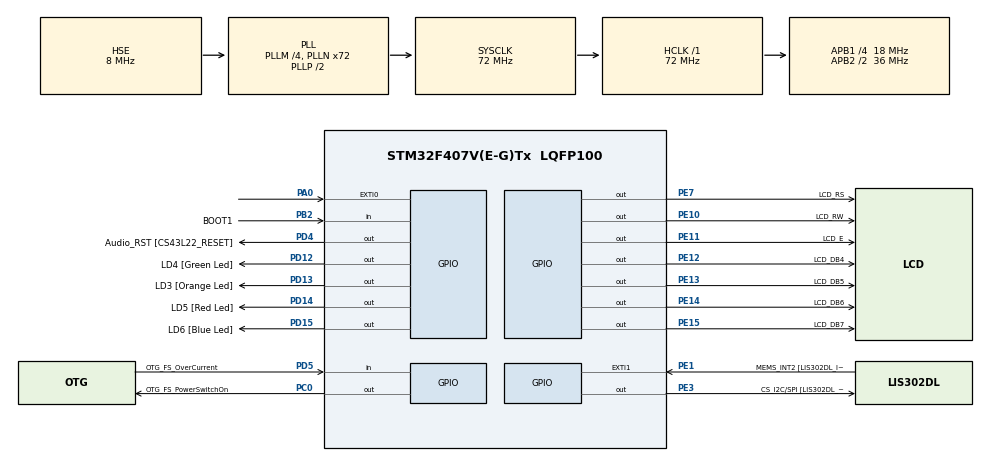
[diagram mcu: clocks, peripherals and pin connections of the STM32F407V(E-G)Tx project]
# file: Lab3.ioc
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Mcu.Family=STM32F4
Mcu.Name=STM32F407V(E-G)Tx
Mcu.Package=LQFP100
NVIC.PriorityGroup=NVIC_PRIORITYGROUP_0
PA0-WKUP.Signal=GPXTI0
PA10.GPIO_Label=OTG_FS_ID
PA10.GPIO_Mode=GPIO_MODE_AF_PP
PA10.GPIO_PuPd=GPIO_NOPULL
PA10.GPIO_Speed=GPIO_SPEED_FREQ_LOW
PA10.Signal=USB_OTG_FS_ID
PA11.GPIO_Label=OTG_FS_DM
PA11.GPIO_Mode=GPIO_MODE_AF_PP
PA11.GPIO_PuPd=GPIO_NOPULL
PA11.GPIO_Speed=GPIO_SPEED_FREQ_LOW
PA11.Signal=USB_OTG_FS_DM
PA12.GPIO_Label=OTG_FS_DP
PA12.GPIO_Mode=GPIO_MODE_AF_PP
PA12.GPIO_PuPd=GPIO_NOPULL
PA12.GPIO_Speed=GPIO_SPEED_FREQ_LOW
PA12.Signal=USB_OTG_FS_DP
PA13.GPIO_Label=SWDIO
PA13.Signal=SYS_JTMS-SWDIO
PA14.GPIO_Label=SWCLK
PA14.Signal=SYS_JTCK-SWCLK
PA4.GPIO_Label=I2S3_WS [CS43L22_LRCK]
PA4.GPIO_Mode=GPIO_MODE_AF_PP
PA4.GPIO_PuPd=GPIO_NOPULL
PA4.GPIO_Speed=GPIO_SPEED_FREQ_LOW
PA4.Signal=I2S3_WS
PA5.GPIO_Label=SPI1_SCK [LIS302DL_SCL/SPC]
PA5.GPIO_Mode=GPIO_MODE_AF_PP
PA5.GPIO_PuPd=GPIO_NOPULL
PA5.GPIO_Speed=GPIO_SPEED_FREQ_LOW
PA5.Signal=SPI1_SCK
PA6.GPIO_Label=SPI1_MISO [LIS302DL_SDO]
PA6.GPIO_Mode=GPIO_MODE_AF_PP
PA6.GPIO_PuPd=GPIO_NOPULL
PA6.GPIO_Speed=GPIO_SPEED_FREQ_LOW
PA6.Signal=SPI1_MISO
PA7.GPIO_Label=SPI1_MOSI [LIS302DL_SDA/SDI/SDO]
PA7.GPIO_Mode=GPIO_MODE_AF_PP
PA7.GPIO_PuPd=GPIO_NOPULL
PA7.GPIO_Speed=GPIO_SPEED_FREQ_LOW
PA7.Signal=SPI1_MOSI
PA9.GPIO_Label=VBUS_FS
PA9.GPIO_Mode=GPIO_MODE_INPUT
PA9.GPIO_PuPd=GPIO_NOPULL
PA9.Signal=USB_OTG_FS_VBUS
PB10.GPIO_Label=CLK_IN [MP45DT02_CLK]
PB10.GPIO_Mode=GPIO_MODE_AF_PP
PB10.GPIO_PuPd=GPIO_NOPULL
PB10.GPIO_Speed=GPIO_SPEED_FREQ_LOW
PB10.Signal=I2S2_CK
PB2.GPIO_Label=BOOT1
PB2.GPIO_Mode=GPIO_MODE_INPUT
PB2.GPIO_PuPd=GPIO_NOPULL
PB2.Signal=GPIO_Input
PB3.GPIO_Label=SWO
PB3.Signal=SYS_JTDO-SWO
PB6.GPIO_Label=Audio_SCL [CS43L22_SCL]
PB6.GPIO_Mode=GPIO_MODE_AF_OD
PB6.GPIO_PuPd=GPIO_NOPULL
PB6.GPIO_Speed=GPIO_SPEED_FREQ_LOW
PB6.Signal=I2C1_SCL
PB9.GPIO_Label=Audio_SDA [CS43L22_SDA]
PB9.GPIO_Mode=GPIO_MODE_AF_OD
PB9.GPIO_PuPd=GPIO_NOPULL
PB9.GPIO_Speed=GPIO_SPEED_FREQ_LOW
PB9.Signal=I2C1_SDA
PC0.GPIO_Label=OTG_FS_PowerSwitchOn
PC0.GPIO_PuPd=GPIO_NOPULL
PC0.GPIO_Speed=GPIO_SPEED_FREQ_LOW
PC0.PinState=GPIO_PIN_SET
PC0.Signal=GPIO_Output
PC10.GPIO_Label=I2S3_SCK [CS43L22_SCLK]
PC10.GPIO_Mode=GPIO_MODE_AF_PP
PC10.GPIO_PuPd=GPIO_NOPULL
PC10.GPIO_Speed=GPIO_SPEED_FREQ_LOW
PC10.Signal=I2S3_CK
PC12.GPIO_Label=I2S3_SD [CS43L22_SDIN]
PC12.GPIO_Mode=GPIO_MODE_AF_PP
PC12.GPIO_PuPd=GPIO_NOPULL
PC12.GPIO_Speed=GPIO_SPEED_FREQ_LOW
PC12.Signal=I2S3_SD
PC14-OSC32_IN.GPIO_Label=PC14-OSC32_IN
PC14-OSC32_IN.Mode=LSE-External-Oscillator
PC14-OSC32_IN.Signal=RCC_OSC32_IN
PC15-OSC32_OUT.GPIO_Label=PC15-OSC32_OUT
PC15-OSC32_OUT.Mode=LSE-External-Oscillator
PC15-OSC32_OUT.Signal=RCC_OSC32_OUT
PC3.GPIO_Label=PDM_OUT [MP45DT02_DOUT]
PC3.GPIO_Mode=GPIO_MODE_AF_PP
PC3.GPIO_PuPd=GPIO_NOPULL
PC3.GPIO_Speed=GPIO_SPEED_FREQ_LOW
PC3.Signal=I2S2_SD
PC7.GPIO_Label=I2S3_MCK [CS43L22_MCLK]
PC7.GPIO_Mode=GPIO_MODE_AF_PP
PC7.GPIO_PuPd=GPIO_NOPULL
PC7.GPIO_Speed=GPIO_SPEED_FREQ_LOW
PC7.Signal=I2S3_MCK
PD12.GPIO_Label=LD4 [Green Led]
PD12.GPIO_PuPd=GPIO_NOPULL
PD12.GPIO_Speed=GPIO_SPEED_FREQ_LOW
PD12.Signal=GPIO_Output
PD13.GPIO_Label=LD3 [Orange Led]
PD13.GPIO_PuPd=GPIO_NOPULL
PD13.GPIO_Speed=GPIO_SPEED_FREQ_LOW
PD13.Signal=GPIO_Output
PD14.GPIO_Label=LD5 [Red Led]
PD14.GPIO_PuPd=GPIO_NOPULL
PD14.GPIO_Speed=GPIO_SPEED_FREQ_LOW
PD14.Signal=GPIO_Output
PD15.GPIO_Label=LD6 [Blue Led]
PD15.GPIO_PuPd=GPIO_NOPULL
PD15.GPIO_Speed=GPIO_SPEED_FREQ_LOW
PD15.Signal=GPIO_Output
PD4.GPIO_Label=Audio_RST [CS43L22_RESET]
PD4.GPIO_PuPd=GPIO_NOPULL
PD4.GPIO_Speed=GPIO_SPEED_FREQ_LOW
PD4.Signal=GPIO_Output
PD5.GPIO_Label=OTG_FS_OverCurrent
PD5.GPIO_Mode=GPIO_MODE_INPUT
PD5.GPIO_PuPd=GPIO_NOPULL
PD5.Signal=GPIO_Input
PE1.GPIO_Label=MEMS_INT2 [LIS302DL_INT2]
PE1.GPIO_ModeDefaultEXTI=GPIO_MODE_EVT_RISING
PE1.GPIO_PuPd=GPIO_NOPULL
PE1.Signal=GPXTI1
PE10.GPIO_Label=LCD_RW
PE10.Signal=GPIO_Output
PE11.GPIO_Label=LCD_E
PE11.Signal=GPIO_Output
PE12.GPIO_Label=LCD_DB4
PE12.Signal=GPIO_Output
PE13.GPIO_Label=LCD_DB5
PE13.Signal=GPIO_Output
PE14.GPIO_Label=LCD_DB6
PE14.Signal=GPIO_Output
PE15.GPIO_Label=LCD_DB7
PE15.Signal=GPIO_Output
PE3.GPIO_Label=CS_I2C/SPI [LIS302DL_CS_I2C/SPI]
PE3.GPIO_PuPd=GPIO_NOPULL
PE3.GPIO_Speed=GPIO_SPEED_FREQ_LOW
PE3.Signal=GPIO_Output
PE7.GPIO_Label=LCD_RS
PE7.Signal=GPIO_Output
PH0-OSC_IN.GPIO_Label=PH0-OSC_IN
PH0-OSC_IN.Mode=HSE-External-Oscillator
PH0-OSC_IN.Signal=RCC_OSC_IN
PH1-OSC_OUT.GPIO_Label=PH1-OSC_OUT
PH1-OSC_OUT.Mode=HSE-External-Oscillator
PH1-OSC_OUT.Signal=RCC_OSC_OUT
ProjectManager.HeapSize=0x200
ProjectManager.StackSize=0x400
ProjectManager.TargetToolchain=STM32CubeIDE
RCC.48MHZClocksFreq_Value=20571428.57142857
RCC.AHBFreq_Value=72000000
RCC.APB1CLKDivider=RCC_HCLK_DIV4
RCC.APB1Freq_Value=18000000
RCC.APB1TimFreq_Value=36000000
RCC.APB2CLKDivider=RCC_HCLK_DIV2
RCC.APB2Freq_Value=36000000
RCC.APB2TimFreq_Value=72000000
RCC.CortexFreq_Value=72000000
RCC.HCLKFreq_Value=72000000
RCC.HSE_VALUE=8000000
RCC.HSI_VALUE=16000000
RCC.PLLM=4
RCC.PLLN=72
RCC.PLLQ=7
RCC.PLLSourceVirtual=RCC_PLLSOURCE_HSE
RCC.SYSCLKFreq_VALUE=72000000
RCC.SYSCLKSource=RCC_SYSCLKSOURCE_PLLCLK
RCC.VCOOutputFreq_Value=144000000
board=STM32F407G-DISC1

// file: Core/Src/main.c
/* USER CODE BEGIN Header */
/**
  ******************************************************************************
  * @file           : main.c
  * @brief          : Main program body
  ******************************************************************************
  * @attention
  *
  * <h2><center>&copy; Copyright (c) 2023 STMicroelectronics.
  * All rights reserved.</center></h2>
  *
  * This software component is licensed by ST under BSD 3-Clause license,
  * the "License"; You may not use this file except in compliance with the
  * License. You may obtain a copy of the License at:
  *                        opensource.org/licenses/BSD-3-Clause
  *
  ******************************************************************************
  */
/* USER CODE END Header */
#include "main.h"
#include "gpio.h"

/* USER CODE BEGIN Includes */
#include "lcd.h"
/* USER CODE END Includes */

/* USER CODE BEGIN PD */
volatile int DIRECTION = 0;
/* USER CODE END PD */

void SystemClock_Config(void);

/* USER CODE BEGIN 0 */
void EXTI0_IRQHandler(void) {
	if(EXTI_GetITStatus(EXTI_Line0) != RESET) EXTI_ClearITPendingBit(EXTI_Line0);
    if (DIRECTION == 0) DIRECTION = 1;
    if (DIRECTION == 1) DIRECTION = 0;
}
/* USER CODE END 0 */

int main(void)
{

  /* MCU Configuration--------------------------------------------------------*/

  /* Reset of all peripherals, Initializes the Flash interface and the Systick. */
  HAL_Init();

  /* Configure the system clock */
  SystemClock_Config();

  /* Initialize all configured peripherals */
  MX_GPIO_Init();
  /* USER CODE BEGIN 2 */
  // ZAD 1
  /*
  LCD_Init();
  LCD_WriteCommand(LCD_CLEAR);
  for (int i = 0; i < 5; i++) {
	  LCD_WriteCommand(LCD_DISPLAY_CURSOR_SHIFT | LCD_SHIFT_RIGHT);
  }
  LCD_WriteText("WI ZUT");
  for (int i = 0; i < 34; i++) {
	  LCD_WriteCommand(LCD_DISPLAY_CURSOR_SHIFT | LCD_SHIFT_RIGHT);
  }
  LCD_WriteText("WI ZUT");*/

  // ZAD 2
  /*
  LCD_Init();
  LCD_WriteCommand(LCD_CLEAR);
  for (int i = 0; i < 5; i++) {
  	  LCD_WriteCommand(LCD_DISPLAY_CURSOR_SHIFT | LCD_SHIFT_RIGHT);
    }
    LCD_WriteText("WI ZUT");
    for (int i = 0; i < 34; i++) {
  	  LCD_WriteCommand(LCD_DISPLAY_CURSOR_SHIFT | LCD_SHIFT_RIGHT);
    }
    LCD_WriteText("WI ZUT");

    for (int i = 0; i < 5; i++) {
    	LCD_WriteCommand(LCD_DISPLAY_CURSOR_SHIFT | LCD_SHIFT_DISPLAY | LCD_SHIFT_RIGHT);
    	for (int i = 0; i < 1000000; i++) {}
    }*/

    // ZAD 3
    LCD_Init();
    LCD_WriteCommand(LCD_CLEAR);
    for (int i = 0; i < 5; i++) {
    	LCD_WriteCommand(LCD_DISPLAY_CURSOR_SHIFT | LCD_SHIFT_RIGHT);
    }
    LCD_WriteText("WI ZUT");
    for (int i = 0; i < 34; i++) {
    	LCD_WriteCommand(LCD_DISPLAY_CURSOR_SHIFT | LCD_SHIFT_RIGHT);
    }
    LCD_WriteText("WI ZUT");

    for (int i = 0; i < 5; i++) {
     	LCD_WriteCommand(LCD_DISPLAY_CURSOR_SHIFT | LCD_SHIFT_DISPLAY | LCD_SHIFT_RIGHT);
       	for (int i = 0; i < 1000000; i++) {}
    }

  /* USER CODE END 2 */

  /* Infinite loop */
  /* USER CODE BEGIN WHILE */
  while (1)
  {
	  // ZAD 2
	  /*
	  HAL_GPIO_TogglePin(GPIOD,GPIO_PIN_13);
	  for (int i = 0; i < 10; i++) {
	    LCD_WriteCommand(LCD_DISPLAY_CURSOR_SHIFT | LCD_SHIFT_DISPLAY | LCD_SHIFT_LEFT);
	    for (int i = 0; i < 1000000; i++) {}
	  }
	  for (int i = 0; i < 100000; i++) {}
	  HAL_GPIO_TogglePin(GPIOD,GPIO_PIN_13);
	  HAL_GPIO_TogglePin(GPIOD,GPIO_PIN_14);
	  for (int i = 0; i < 10; i++) {
	    LCD_WriteCommand(LCD_DISPLAY_CURSOR_SHIFT | LCD_SHIFT_DISPLAY | LCD_SHIFT_RIGHT);
	    for (int i = 0; i < 1000000; i++) {}
	  }
	  HAL_GPIO_TogglePin(GPIOD,GPIO_PIN_14);
	  	  */

	  // ZAD 3
	  if (DIRECTION == 0) {
		  HAL_GPIO_WritePin(GPIOD, GPIO_PIN_13, GPIO_PIN_SET);
		  HAL_GPIO_WritePin(GPIOD, GPIO_PIN_14, GPIO_PIN_RESET);
		  LCD_WriteCommand(LCD_DISPLAY_CURSOR_SHIFT | LCD_SHIFT_DISPLAY | LCD_SHIFT_LEFT);
	    	for (int i = 0; i < 1000000; i++) {}
	  }

	  if (DIRECTION == 1) {
		  HAL_GPIO_WritePin(GPIOD, GPIO_PIN_14, GPIO_PIN_SET);
		  HAL_GPIO_WritePin(GPIOD, GPIO_PIN_13, GPIO_PIN_RESET);
		  LCD_WriteCommand(LCD_DISPLAY_CURSOR_SHIFT | LCD_SHIFT_DISPLAY | LCD_SHIFT_RIGHT);
			for (int i = 0; i < 1000000; i++) {}
	  }

    /* USER CODE END WHILE */

  }
}

void SystemClock_Config(void)
{
  RCC_OscInitTypeDef RCC_OscInitStruct = {0};
  RCC_ClkInitTypeDef RCC_ClkInitStruct = {0};

  /** Configure the main internal regulator output voltage
  */
  __HAL_RCC_PWR_CLK_ENABLE();
  __HAL_PWR_VOLTAGESCALING_CONFIG(PWR_REGULATOR_VOLTAGE_SCALE1);
  /** Initializes the RCC Oscillators according to the specified parameters
  * in the RCC_OscInitTypeDef structure.
  */
  RCC_OscInitStruct.OscillatorType = RCC_OSCILLATORTYPE_HSE;
  RCC_OscInitStruct.HSEState = RCC_HSE_ON;
  RCC_OscInitStruct.PLL.PLLState = RCC_PLL_ON;
  RCC_OscInitStruct.PLL.PLLSource = RCC_PLLSOURCE_HSE;
  RCC_OscInitStruct.PLL.PLLM = 4;
  RCC_OscInitStruct.PLL.PLLN = 72;
  RCC_OscInitStruct.PLL.PLLP = RCC_PLLP_DIV2;
  RCC_OscInitStruct.PLL.PLLQ = 7;
  if (HAL_RCC_OscConfig(&RCC_OscInitStruct) != HAL_OK)
  {
    Error_Handler();
  }
  /** Initializes the CPU, AHB and APB buses clocks
  */
  RCC_ClkInitStruct.ClockType = RCC_CLOCKTYPE_HCLK|RCC_CLOCKTYPE_SYSCLK
                              |RCC_CLOCKTYPE_PCLK1|RCC_CLOCKTYPE_PCLK2;
  RCC_ClkInitStruct.SYSCLKSource = RCC_SYSCLKSOURCE_PLLCLK;
  RCC_ClkInitStruct.AHBCLKDivider = RCC_SYSCLK_DIV1;
  RCC_ClkInitStruct.APB1CLKDivider = RCC_HCLK_DIV4;
  RCC_ClkInitStruct.APB2CLKDivider = RCC_HCLK_DIV2;

  if (HAL_RCC_ClockConfig(&RCC_ClkInitStruct, FLASH_LATENCY_2) != HAL_OK)
  {
    Error_Handler();
  }
}

void Error_Handler(void)
{
  __disable_irq();
  while (1)
  {
  }
}

/************************ (C) COPYRIGHT STMicroelectronics *****END OF FILE****/
